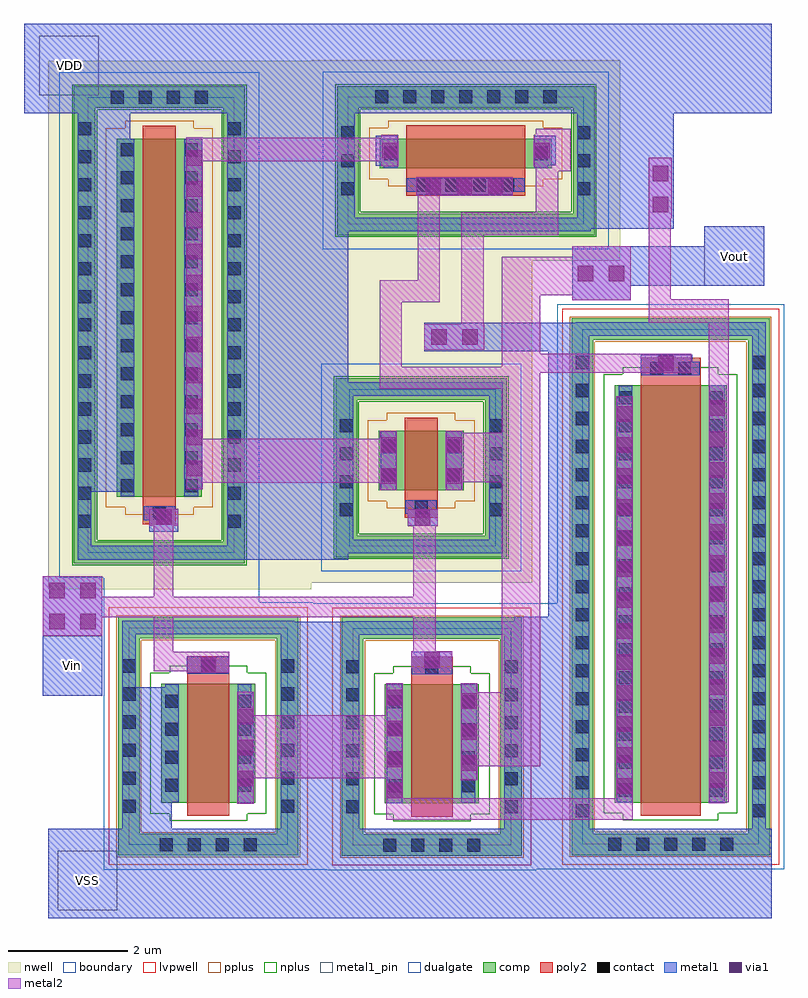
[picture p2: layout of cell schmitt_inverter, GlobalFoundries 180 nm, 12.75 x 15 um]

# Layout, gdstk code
import gdstk
lib = gdstk.Library(unit=1e-6, precision=1e-09)
def R(c, l, rs):  # rectangles x0, y0, x1, y1
    for r in rs: c.add(gdstk.rectangle(r[:2], r[2:], *l))
def A(c, l, x, y, w, h, nx, ny, dx, dy):  # array of equal rectangles
    R(c, l, [(x+i*dx, y+j*dy, x+i*dx+w, y+j*dy+h) for i in range(nx) for j in range(ny)])
boundary = (0, 0)
nwell = (21, 0)
comp = (22, 0)
poly2 = (30, 0)
pplus = (31, 0)
nplus = (32, 0)
contact = (33, 0)
metal1 = (34, 0)
metal1_pin = (34, 10)
via1 = (35, 0)
metal2 = (36, 0)
dualgate = (55, 0)
lvpwell = (204, 0)

pmos_6p0_uxeqnm = lib.new_cell('pmos_6p0_UXEQNM')
R(pmos_6p0_uxeqnm, boundary, [(-1.23,-1.32,1.23,1.32)])
R(pmos_6p0_uxeqnm, nwell, [(-1.89,-1.93,1.84,1.93)])
R(pmos_6p0_uxeqnm, comp, [(-1.46,-1.5,1.41,-1.14), (-1.46,-1.14,-1.1,1.14), (1.05,-1.14,1.41,1.14), (-0.74,-0.38,0.69,0.62), (-1.46,1.14,1.41,1.5)])
R(pmos_6p0_uxeqnm, poly2, [(-0.3,-0.84,0.25,0.84)])
R(pmos_6p0_uxeqnm, pplus, [(-0.6,-0.68,0.55,-0.56), (-0.92,-0.56,0.87,0.8), (-0.6,0.8,0.55,0.92)])
R(pmos_6p0_uxeqnm, nplus, [(-1.49,-1.53,1.44,-1.11), (-1.49,-1.11,-1.07,1.11), (1.02,-1.11,1.44,1.11), (-1.49,1.11,1.44,1.53)])
A(pmos_6p0_uxeqnm, contact, -1.39, -0.815, 0.22, 0.22, 1, 4, 0, 0.47)
A(pmos_6p0_uxeqnm, contact, 1.12, -0.815, 0.22, 0.22, 1, 4, 0, 0.47)
R(pmos_6p0_uxeqnm, contact, [(-0.135,-0.77,0.085,-0.55), (-0.67,-0.225,-0.45,-0.005), (0.4,-0.225,0.62,-0.005), (-0.67,0.245,-0.45,0.465), (0.4,0.245,0.62,0.465)])
R(pmos_6p0_uxeqnm, metal1, [(-1.395,-1.435,1.345,-1.205), (-1.395,-1.205,-1.165,1.205), (1.115,-1.205,1.345,1.205), (-0.29,-0.775,0.24,-0.545), (-0.675,-0.37,-0.445,0.61), (0.395,-0.37,0.625,0.61), (-1.395,1.205,1.345,1.435)])
R(pmos_6p0_uxeqnm, dualgate, [(-1.7,-1.74,1.65,1.74)])

nmos_6p0_bjpb5u = lib.new_cell('nmos_6p0_BJPB5U')
R(nmos_6p0_bjpb5u, boundary, [(-1.33,-1.82,1.33,1.82)])
R(nmos_6p0_bjpb5u, comp, [(-1.51,-2,1.51,-1.64), (-1.51,-1.64,-1.15,1.64), (1.15,-1.64,1.51,1.64), (-0.79,-1.12,0.79,0.88), (-1.51,1.64,1.51,2)])
R(nmos_6p0_bjpb5u, poly2, [(-0.35,-1.34,0.35,1.34)])
R(nmos_6p0_bjpb5u, pplus, [(-1.54,-2.03,1.54,-1.61), (-1.54,-1.61,-1.12,1.61), (1.12,-1.61,1.54,1.61), (-1.54,1.61,1.54,2.03)])
R(nmos_6p0_bjpb5u, nplus, [(-0.65,-1.42,0.65,-1.3), (-0.97,-1.3,0.97,1.06), (-0.65,1.06,0.65,1.18)])
A(nmos_6p0_bjpb5u, contact, -0.815, -1.93, 0.22, 0.22, 4, 1, 0.47, 0)
A(nmos_6p0_bjpb5u, contact, -1.44, -1.285, 0.22, 0.22, 1, 6, 0, 0.47)
A(nmos_6p0_bjpb5u, contact, 1.22, -1.285, 0.22, 0.22, 1, 6, 0, 0.47)
A(nmos_6p0_bjpb5u, contact, -0.72, -0.935, 0.22, 0.22, 1, 4, 0, 0.47)
A(nmos_6p0_bjpb5u, contact, 0.5, -0.935, 0.22, 0.22, 1, 4, 0, 0.47)
R(nmos_6p0_bjpb5u, contact, [(-0.11,1.05,0.11,1.27)])
R(nmos_6p0_bjpb5u, metal1, [(-1.445,-1.935,1.445,-1.705), (-1.445,-1.705,-1.215,1.705), (1.215,-1.705,1.445,1.705), (-0.725,-1.11,-0.495,0.87), (0.495,-1.11,0.725,0.87), (-0.34,1.045,0.34,1.275), (-1.445,1.705,1.445,1.935)])
R(nmos_6p0_bjpb5u, dualgate, [(-1.75,-2.24,1.75,2.24)])
R(nmos_6p0_bjpb5u, lvpwell, [(-1.67,-2.16,1.67,2.16)])

pmos_6p0_9859ul = lib.new_cell('pmos_6p0_9859UL')
R(pmos_6p0_9859ul, boundary, [(-1.98,-1.07,1.98,1.07)])
R(pmos_6p0_9859ul, nwell, [(-2.59,-1.68,2.59,1.68)])
R(pmos_6p0_9859ul, comp, [(-2.16,-1.25,2.16,-0.89), (-2.16,-0.89,-1.8,0.89), (1.8,-0.89,2.16,0.89), (-1.44,-0.13,1.44,0.37), (-2.16,0.89,2.16,1.25)])
R(pmos_6p0_9859ul, poly2, [(-1,-0.59,1,0.59)])
R(pmos_6p0_9859ul, pplus, [(-1.3,-0.43,1.3,-0.31), (-1.62,-0.31,1.62,0.55), (-1.3,0.55,1.3,0.67)])
R(pmos_6p0_9859ul, nplus, [(-2.19,-1.28,2.19,-0.86), (-2.19,-0.86,-1.77,0.86), (1.77,-0.86,2.19,0.86), (-2.19,0.86,2.19,1.28)])
A(pmos_6p0_9859ul, contact, -2.09, -0.58, 0.22, 0.22, 1, 3, 0, 0.47)
A(pmos_6p0_9859ul, contact, 1.87, -0.58, 0.22, 0.22, 1, 3, 0, 0.47)
A(pmos_6p0_9859ul, contact, -0.815, -0.52, 0.22, 0.22, 4, 1, 0.47, 0)
A(pmos_6p0_9859ul, contact, -1.52, 0.96, 0.22, 0.22, 7, 1, 0.47, 0)
R(pmos_6p0_9859ul, contact, [(-1.37,0.01,-1.15,0.23), (1.15,0.01,1.37,0.23)])
R(pmos_6p0_9859ul, metal1, [(-2.095,-1.185,2.095,-0.955), (-2.095,-0.955,-1.865,0.955), (1.865,-0.955,2.095,0.955), (-0.99,-0.525,0.99,-0.295), (-1.375,-0.12,-1.145,0.36), (1.145,-0.12,1.375,0.36), (-2.095,0.955,2.095,1.185)])
R(pmos_6p0_9859ul, dualgate, [(-2.4,-1.49,2.4,1.49)])

pmos_6p0_9yeqn4 = lib.new_cell('pmos_6p0_9YEQN4')
R(pmos_6p0_9yeqn4, boundary, [(-1.23,-3.82,1.23,3.82)])
R(pmos_6p0_9yeqn4, nwell, [(-1.89,-4.43,1.84,4.43)])
R(pmos_6p0_9yeqn4, comp, [(-1.46,-4,1.41,-3.64), (-1.46,-3.64,-1.1,3.64), (1.05,-3.64,1.41,3.64), (-0.74,-2.88,0.69,3.12), (-1.46,3.64,1.41,4)])
R(pmos_6p0_9yeqn4, poly2, [(-0.3,-3.34,0.25,3.34)])
R(pmos_6p0_9yeqn4, pplus, [(-0.6,-3.18,0.55,-3.06), (-0.92,-3.06,0.87,3.3), (-0.6,3.3,0.55,3.42)])
R(pmos_6p0_9yeqn4, nplus, [(-1.49,-4.03,1.44,-3.61), (-1.49,-3.61,-1.07,3.61), (1.02,-3.61,1.44,3.61), (-1.49,3.61,1.44,4.03)])
A(pmos_6p0_9yeqn4, contact, -1.39, -3.4, 0.22, 0.22, 1, 15, 0, 0.47)
A(pmos_6p0_9yeqn4, contact, 1.12, -3.4, 0.22, 0.22, 1, 15, 0, 0.47)
A(pmos_6p0_9yeqn4, contact, -0.67, -2.81, 0.22, 0.22, 1, 13, 0, 0.47)
A(pmos_6p0_9yeqn4, contact, 0.4, -2.81, 0.22, 0.22, 1, 13, 0, 0.47)
A(pmos_6p0_9yeqn4, contact, -0.84, 3.71, 0.22, 0.22, 4, 1, 0.47, 0)
R(pmos_6p0_9yeqn4, contact, [(-0.135,-3.27,0.085,-3.05)])
R(pmos_6p0_9yeqn4, metal1, [(-1.395,-3.935,1.345,-3.705), (-1.395,-3.705,-1.165,3.705), (1.115,-3.705,1.345,3.705), (-0.29,-3.275,0.24,-3.045), (-0.675,-2.87,-0.445,3.11), (0.395,-2.87,0.625,3.11), (-1.395,3.705,1.345,3.935)])
R(pmos_6p0_9yeqn4, dualgate, [(-1.7,-4.24,1.65,4.24)])

nmos_6p0_l3ybev = lib.new_cell('nmos_6p0_L3YBEV')
R(nmos_6p0_l3ybev, boundary, [(-1.48,-4.32,1.48,4.32)])
R(nmos_6p0_l3ybev, comp, [(-1.66,-4.5,1.66,-4.14), (-1.66,-4.14,-1.3,4.14), (1.3,-4.14,1.66,4.14), (-0.94,-3.62,0.94,3.38), (-1.66,4.14,1.66,4.5)])
R(nmos_6p0_l3ybev, poly2, [(-0.5,-3.84,0.5,3.84)])
R(nmos_6p0_l3ybev, pplus, [(-1.69,-4.53,1.69,-4.11), (-1.69,-4.11,-1.27,4.11), (1.27,-4.11,1.69,4.11), (-1.69,4.11,1.69,4.53)])
R(nmos_6p0_l3ybev, nplus, [(-0.8,-3.92,0.8,-3.8), (-1.12,-3.8,1.12,3.56), (-0.8,3.56,0.8,3.68)])
A(nmos_6p0_l3ybev, contact, -1.05, -4.43, 0.22, 0.22, 5, 1, 0.47, 0)
A(nmos_6p0_l3ybev, contact, -1.59, -3.87, 0.22, 0.22, 1, 17, 0, 0.47)
A(nmos_6p0_l3ybev, contact, 1.37, -3.87, 0.22, 0.22, 1, 17, 0, 0.47)
A(nmos_6p0_l3ybev, contact, -0.87, -3.52, 0.22, 0.22, 1, 15, 0, 0.47)
A(nmos_6p0_l3ybev, contact, 0.65, -3.52, 0.22, 0.22, 1, 15, 0, 0.47)
R(nmos_6p0_l3ybev, contact, [(-0.345,3.55,-0.125,3.77), (0.125,3.55,0.345,3.77)])
R(nmos_6p0_l3ybev, metal1, [(-1.595,-4.435,1.595,-4.205), (-1.595,-4.205,-1.365,4.205), (1.365,-4.205,1.595,4.205), (-0.875,-3.61,-0.645,3.37), (0.645,-3.61,0.875,3.37), (-0.49,3.545,0.49,3.775), (-1.595,4.205,1.595,4.435)])
R(nmos_6p0_l3ybev, dualgate, [(-1.9,-4.74,1.9,4.74)])
R(nmos_6p0_l3ybev, lvpwell, [(-1.82,-4.66,1.82,4.66)])

schmitt_inverter = lib.new_cell('schmitt_inverter')
R(schmitt_inverter, nwell, [(6.765,-6.055,7.45,-2.09), (6.765,-2.09,11.155,-0.55), (6.765,-0.55,7.45,2.805)])
R(schmitt_inverter, metal1, [(3.035,-11.575,15.17,-10.075), (4.385,-10.075,5.105,-7.705), (7.005,-10.075,8.125,-6.6), (10.855,-10.075,12.105,-6.52), (8.715,-9.65,8.975,-7.655), (6.215,-9.635,6.485,-7.795), (12.57,-9.63,12.83,-2.84), (14.12,-9.63,14.38,-2.64), (9.965,-9.25,10.225,-7.655), (2.945,-7.84,3.945,-5.84), (5.36,-7.45,6.07,-7.19), (9.125,-7.37,9.815,-7.11), (11.42,-6.52,12.105,-2.07), (6.21,-5.56,8.07,1.925), (4.73,-5.095,5.22,-4.72), (9.065,-4.995,9.565,-4.73), (3.72,-4.42,4.415,1.925), (8.61,-4.395,8.87,-3.405), (9.71,-4.395,9.97,-3.405), (5.36,-4.36,5.62,1.5), (12.975,-2.42,13.835,-2.125), (9.345,-2.07,12.105,-1.645), (9.345,-1.645,12.1,-1.585), (11.82,-1.215,12.805,-0.97), (11.82,-0.97,15.04,-0.31), (14.04,-0.31,15.04,0.03), (12,-0.01,13.53,1.925), (9.205,0.555,10.83,0.835), (8.53,1.045,8.895,1.545), (11.185,1.05,11.55,1.55), (8.635,1.545,8.895,1.55), (2.63,1.925,15.17,3.425)])
R(schmitt_inverter, metal1_pin, [(3.195,-11.44,4.195,-10.44), (2.945,-7.84,3.945,-6.84), (14.04,-0.97,15.04,0.03), (2.885,2.225,3.885,3.225)])
A(schmitt_inverter, via1, 8.715, -9.56, 0.26, 0.26, 1, 4, 0, 0.52)
A(schmitt_inverter, via1, 12.57, -9.485, 0.26, 0.26, 1, 13, 0, 0.52)
A(schmitt_inverter, via1, 14.12, -9.385, 0.26, 0.26, 1, 13, 0, 0.52)
A(schmitt_inverter, via1, 6.215, -9.365, 0.26, 0.26, 1, 3, 0, 0.52)
A(schmitt_inverter, via1, 9.965, -9.1, 0.26, 0.26, 1, 3, 0, 0.52)
A(schmitt_inverter, via1, 5.36, -4.16, 0.26, 0.26, 1, 11, 0, 0.52)
A(schmitt_inverter, via1, 9.365, 0.565, 0.26, 0.26, 3, 1, 0.52, 0)
R(schmitt_inverter, via1, [(5.59,-7.45,5.85,-7.19), (9.34,-7.37,9.6,-7.11), (3.05,-6.73,3.31,-6.47), (3.57,-6.73,3.83,-6.47), (3.05,-6.21,3.31,-5.95), (3.57,-6.21,3.83,-5.95), (9.185,-4.99,9.445,-4.73), (4.845,-4.98,5.105,-4.72), (8.61,-4.29,8.87,-4.03), (9.71,-4.29,9.97,-4.03), (8.61,-3.77,8.87,-3.51), (9.71,-3.77,9.97,-3.51), (13.265,-2.405,13.525,-2.145), (9.46,-1.96,9.72,-1.7), (9.98,-1.96,10.24,-1.7), (11.915,-0.89,12.175,-0.63), (12.435,-0.89,12.695,-0.63), (13.17,0.26,13.43,0.52), (13.17,0.78,13.43,1.04), (8.635,1.17,8.895,1.43), (11.185,1.17,11.445,1.43)])
R(schmitt_inverter, metal2, [(8.705,-9.925,12.84,-9.56), (6.205,-9.655,6.485,-9.23), (14.11,-9.65,14.39,-9.63), (14.11,-9.63,14.445,-1.585), (8.705,-9.56,8.985,-9.23), (12.56,-9.56,12.84,-2.82), (9.955,-9.265,10.235,-9.025), (6.205,-9.23,8.985,-8.17), (9.955,-9.025,11.285,-7.785), (6.205,-8.17,6.485,-7.775), (8.705,-8.17,8.985,-7.635), (9.955,-7.785,10.235,-7.635), (10.64,-7.785,11.285,-4.265), (5.36,-7.46,6.07,-7.43), (4.805,-7.43,6.075,-7.105), (9.125,-7.38,9.815,-7.1), (4.805,-7.105,5.13,-6.525), (9.16,-7.1,9.535,-6.525), (2.945,-6.84,3.945,-6.525), (2.945,-6.525,9.535,-6.18), (2.945,-6.18,3.945,-5.84), (4.805,-6.18,5.13,-4.99), (9.16,-6.18,9.535,-5), (9.065,-5,9.565,-4.72), (4.73,-4.99,5.22,-4.71), (8.6,-4.4,8.88,-4.275), (9.7,-4.4,9.98,-4.265), (5.35,-4.38,5.63,-4.275), (5.35,-4.275,8.88,-3.535), (9.7,-4.265,11.285,-3.435), (5.35,-3.535,5.63,1.12), (8.6,-3.535,8.88,-3.4), (9.7,-3.435,9.98,-3.4), (10.64,-3.435,11.285,-2.695), (8.595,-2.695,11.285,-2.43), (8.595,-2.43,13.82,-2.325), (8.595,-2.325,8.965,-1.245), (10.64,-2.325,13.82,-2.11), (10.64,-2.11,11.285,-1.13), (9.345,-2.04,10.35,-1.61), (9.96,-1.61,10.34,-0.12), (13.11,-1.585,14.445,-1.195), (8.595,-1.245,9.605,-0.875), (11.82,-1.215,12.805,-1.13), (13.11,-1.195,13.48,0.165), (10.64,-1.13,12.805,-0.485), (9.235,-0.875,9.605,0.545), (11.82,-0.485,12.805,-0.31), (9.96,-0.12,11.59,0.26), (13.11,0.165,13.49,1.18), (11.21,0.26,11.59,0.95), (9.205,0.545,10.83,0.85), (11.21,0.95,11.795,1.035), (8.625,1.035,8.905,1.12), (11.175,1.035,11.795,1.565), (5.35,1.12,8.905,1.515), (5.35,1.515,5.63,1.52), (8.625,1.515,8.905,1.565), (11.21,1.565,11.795,1.665)])
R(schmitt_inverter, dualgate, [(7.47,-10.76,7.72,-6.29), (11.22,-10.755,11.575,-6.29), (3.97,-6.28,6.575,-5.865)])
schmitt_inverter.add(gdstk.Reference(pmos_6p0_uxeqnm, (9.315,-4.02)))
schmitt_inverter.add(gdstk.Reference(nmos_6p0_bjpb5u, (9.47,-8.53)))
schmitt_inverter.add(gdstk.Reference(pmos_6p0_9859ul, (10.04,1.13)))
schmitt_inverter.add(gdstk.Reference(nmos_6p0_bjpb5u, (5.72,-8.52)))
schmitt_inverter.add(gdstk.Reference(pmos_6p0_9yeqn4, (4.925,-1.625)))
schmitt_inverter.add(gdstk.Reference(nmos_6p0_l3ybev, (13.475,-6.015)))
schmitt_inverter.add(gdstk.Label('VDD', (3.385,2.725), layer=34, texttype=10))
schmitt_inverter.add(gdstk.Label('VSS', (3.695,-10.94), layer=34, texttype=10))
schmitt_inverter.add(gdstk.Label('Vin', (3.445,-7.34), layer=34, texttype=10))
schmitt_inverter.add(gdstk.Label('Vout', (14.54,-0.47), layer=34, texttype=10))

lib.write_gds('schmitt_inverter.gds')
